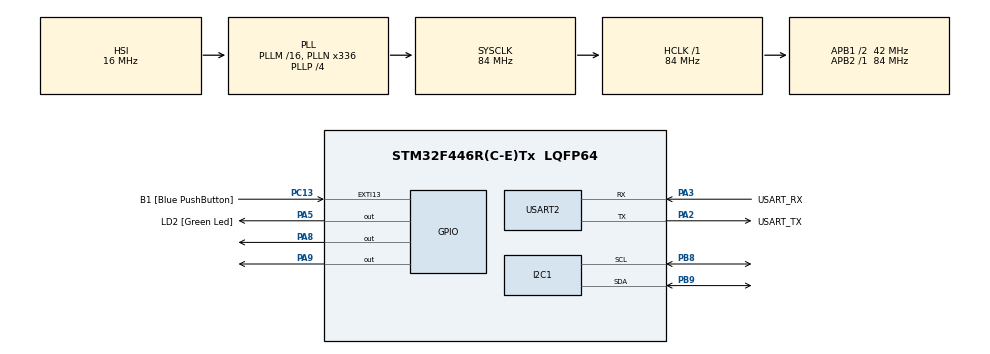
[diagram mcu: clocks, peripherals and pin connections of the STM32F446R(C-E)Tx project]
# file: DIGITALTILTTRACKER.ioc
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Mcu.Family=STM32F4
Mcu.Name=STM32F446R(C-E)Tx
Mcu.Package=LQFP64
NVIC.PriorityGroup=NVIC_PRIORITYGROUP_0
PA13.GPIO_Label=TMS
PA13.Mode=Serial_Wire
PA13.Signal=SYS_JTMS-SWDIO
PA14.GPIO_Label=TCK
PA14.Mode=Serial_Wire
PA14.Signal=SYS_JTCK-SWCLK
PA2.GPIO_Label=USART_TX
PA2.Mode=Asynchronous
PA2.Signal=USART2_TX
PA3.GPIO_Label=USART_RX
PA3.Mode=Asynchronous
PA3.Signal=USART2_RX
PA5.GPIO_Label=LD2 [Green Led]
PA5.Signal=GPIO_Output
PA8.Signal=GPIO_Output
PA9.Signal=GPIO_Output
PB3.GPIO_Label=SWO
PB3.Signal=SYS_JTDO-SWO
PB8.Mode=I2C
PB8.Signal=I2C1_SCL
PB9.Mode=I2C
PB9.Signal=I2C1_SDA
PC13.GPIO_Label=B1 [Blue PushButton]
PC13.GPIO_ModeDefaultEXTI=GPIO_MODE_IT_FALLING
PC13.Signal=GPXTI13
PC14-OSC32_IN.Mode=LSE-External-Oscillator
PC14-OSC32_IN.Signal=RCC_OSC32_IN
PC15-OSC32_OUT.Mode=LSE-External-Oscillator
PC15-OSC32_OUT.Signal=RCC_OSC32_OUT
PH0-OSC_IN.Mode=HSE-External-Oscillator
PH0-OSC_IN.Signal=RCC_OSC_IN
PH1-OSC_OUT.Mode=HSE-External-Oscillator
PH1-OSC_OUT.Signal=RCC_OSC_OUT
ProjectManager.HeapSize=0x200
ProjectManager.StackSize=0x400
ProjectManager.TargetToolchain=STM32CubeIDE
RCC.48MHZClocksFreq_Value=84000000
RCC.AHBFreq_Value=84000000
RCC.APB1CLKDivider=RCC_HCLK_DIV2
RCC.APB1Freq_Value=42000000
RCC.APB1TimFreq_Value=84000000
RCC.APB2Freq_Value=84000000
RCC.APB2TimFreq_Value=84000000
RCC.CortexFreq_Value=84000000
RCC.FLatency-AdvancedSettings=FLASH_LATENCY_2
RCC.HCLKFreq_Value=84000000
RCC.HSE_VALUE=8000000
RCC.HSI_VALUE=16000000
RCC.PLLN=336
RCC.PLLP=RCC_PLLP_DIV4
RCC.SYSCLKFreq_VALUE=84000000
RCC.SYSCLKSource=RCC_SYSCLKSOURCE_PLLCLK
RCC.USBFreq_Value=168000000
RCC.VCOOutputFreq_Value=336000000
USART2.VirtualMode=VM_ASYNC
board=NUCLEO-F446RE

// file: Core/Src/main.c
/* USER CODE BEGIN Header */

/* USER CODE END Header */
#include "main.h"

#include "math.h"
#include "ssd1306.h"
#include "ssd1306_fonts.h"
#include "stdio.h"
/* USER CODE END Includes */

I2C_HandleTypeDef hi2c1;

UART_HandleTypeDef huart2;

/* USER CODE BEGIN PV */
uint8_t buffer[6];
int16_t accel_x, accel_y, accel_z;
float pitch, roll;
char display_text[30];
/* USER CODE END PV */

void SystemClock_Config(void);
static void MX_GPIO_Init(void);
static void MX_I2C1_Init(void);
static void MX_USART2_UART_Init(void);

int main(void)
{

  HAL_Init();

  SystemClock_Config();

  MX_GPIO_Init();
  MX_I2C1_Init();
  MX_USART2_UART_Init();
  /* USER CODE BEGIN 2 */
  ssd1306_Init();
    ssd1306_Fill(Black);
    ssd1306_SetCursor(10, 20);
    ssd1306_WriteString("IT WORKS!", Font_11x18, White);
    ssd1306_UpdateScreen();
    uint8_t power_mgmt_reg = 0x6B;
      uint8_t wake_command = 0x00;
      HAL_I2C_Mem_Write(&hi2c1, (0x68 << 1), power_mgmt_reg, 1, &wake_command, 1, 100);

      uint8_t mpu_data[6];
      int16_t accel_x, accel_y, accel_z;
  /* USER CODE END 2 */

  while (1)
  {

    /* USER CODE BEGIN 3 */

	  HAL_I2C_Mem_Read(&hi2c1, (0x68 << 1), 0x3B, 1, mpu_data, 6, 100);

	      accel_x = (int16_t)(mpu_data[0] << 8 | mpu_data[1]);
	      accel_y = (int16_t)(mpu_data[2] << 8 | mpu_data[3]);
	      accel_z = (int16_t)(mpu_data[4] << 8 | mpu_data[5]);

	      float pitch = atan2(accel_y, sqrt(accel_x * accel_x + accel_z * accel_z)) * 180.0 / 3.14159;
	      float roll = atan2(-accel_x, accel_z) * 180.0 / 3.14159;

	      char data_buf[32];
	      char visual_buf[32];

	      ssd1306_Fill(Black);

	      sprintf(data_buf, "P: %+04d", (int)pitch);
	      ssd1306_SetCursor(20, 0);
	      ssd1306_WriteString(data_buf, Font_11x18, White);

	      sprintf(data_buf, "R: %+04d", (int)roll);
	      ssd1306_SetCursor(20, 22);
	      ssd1306_WriteString(data_buf, Font_11x18, White);

	      if (pitch > 10) {
	          if (roll > 10) sprintf(visual_buf, " UP-RIGHT ");
	          else if (roll < -10) sprintf(visual_buf, " UP-LEFT  ");
	          else sprintf(visual_buf, "    UP    ");
	      } else if (pitch < -10) {
	          if (roll > 10) sprintf(visual_buf, " DWN-RGHT ");
	          else if (roll < -10) sprintf(visual_buf, " DWN-LEFT ");
	          else sprintf(visual_buf, "   DOWN   ");
	      } else {
	          if (roll > 10) sprintf(visual_buf, "  RIGHT   ");
	          else if (roll < -10) sprintf(visual_buf, "   LEFT   ");
	          else sprintf(visual_buf, " - LEVEL -");
	      }

	      ssd1306_SetCursor(9, 45);
	      ssd1306_WriteString(visual_buf, Font_11x18, White);

	      ssd1306_UpdateScreen();
  }
  /* USER CODE END 3 */
}

void SystemClock_Config(void)
{
  RCC_OscInitTypeDef RCC_OscInitStruct = {0};
  RCC_ClkInitTypeDef RCC_ClkInitStruct = {0};

  __HAL_RCC_PWR_CLK_ENABLE();
  __HAL_PWR_VOLTAGESCALING_CONFIG(PWR_REGULATOR_VOLTAGE_SCALE3);

  RCC_OscInitStruct.OscillatorType = RCC_OSCILLATORTYPE_HSI;
  RCC_OscInitStruct.HSIState = RCC_HSI_ON;
  RCC_OscInitStruct.HSICalibrationValue = RCC_HSICALIBRATION_DEFAULT;
  RCC_OscInitStruct.PLL.PLLState = RCC_PLL_ON;
  RCC_OscInitStruct.PLL.PLLSource = RCC_PLLSOURCE_HSI;
  RCC_OscInitStruct.PLL.PLLM = 16;
  RCC_OscInitStruct.PLL.PLLN = 336;
  RCC_OscInitStruct.PLL.PLLP = RCC_PLLP_DIV4;
  RCC_OscInitStruct.PLL.PLLQ = 2;
  RCC_OscInitStruct.PLL.PLLR = 2;
  if (HAL_RCC_OscConfig(&RCC_OscInitStruct) != HAL_OK)
  {
    Error_Handler();
  }

  RCC_ClkInitStruct.ClockType = RCC_CLOCKTYPE_HCLK|RCC_CLOCKTYPE_SYSCLK
                              |RCC_CLOCKTYPE_PCLK1|RCC_CLOCKTYPE_PCLK2;
  RCC_ClkInitStruct.SYSCLKSource = RCC_SYSCLKSOURCE_PLLCLK;
  RCC_ClkInitStruct.AHBCLKDivider = RCC_SYSCLK_DIV1;
  RCC_ClkInitStruct.APB1CLKDivider = RCC_HCLK_DIV2;
  RCC_ClkInitStruct.APB2CLKDivider = RCC_HCLK_DIV1;

  if (HAL_RCC_ClockConfig(&RCC_ClkInitStruct, FLASH_LATENCY_2) != HAL_OK)
  {
    Error_Handler();
  }
}

static void MX_I2C1_Init(void)
{

  hi2c1.Instance = I2C1;
  hi2c1.Init.ClockSpeed = 100000;
  hi2c1.Init.DutyCycle = I2C_DUTYCYCLE_2;
  hi2c1.Init.OwnAddress1 = 0;
  hi2c1.Init.AddressingMode = I2C_ADDRESSINGMODE_7BIT;
  hi2c1.Init.DualAddressMode = I2C_DUALADDRESS_DISABLE;
  hi2c1.Init.OwnAddress2 = 0;
  hi2c1.Init.GeneralCallMode = I2C_GENERALCALL_DISABLE;
  hi2c1.Init.NoStretchMode = I2C_NOSTRETCH_DISABLE;
  if (HAL_I2C_Init(&hi2c1) != HAL_OK)
  {
    Error_Handler();
  }

}

static void MX_USART2_UART_Init(void)
{

  huart2.Instance = USART2;
  huart2.Init.BaudRate = 115200;
  huart2.Init.WordLength = UART_WORDLENGTH_8B;
  huart2.Init.StopBits = UART_STOPBITS_1;
  huart2.Init.Parity = UART_PARITY_NONE;
  huart2.Init.Mode = UART_MODE_TX_RX;
  huart2.Init.HwFlowCtl = UART_HWCONTROL_NONE;
  huart2.Init.OverSampling = UART_OVERSAMPLING_16;
  if (HAL_UART_Init(&huart2) != HAL_OK)
  {
    Error_Handler();
  }

}

static void MX_GPIO_Init(void)
{
  GPIO_InitTypeDef GPIO_InitStruct = {0};

  /* GPIO Ports Clock Enable */
  __HAL_RCC_GPIOC_CLK_ENABLE();
  __HAL_RCC_GPIOH_CLK_ENABLE();
  __HAL_RCC_GPIOA_CLK_ENABLE();
  __HAL_RCC_GPIOB_CLK_ENABLE();

  /*Configure GPIO pin Output Level */
  HAL_GPIO_WritePin(GPIOA, LD2_Pin|GPIO_PIN_8|GPIO_PIN_9, GPIO_PIN_RESET);

  /*Configure GPIO pin : B1_Pin */
  GPIO_InitStruct.Pin = B1_Pin;
  GPIO_InitStruct.Mode = GPIO_MODE_IT_FALLING;
  GPIO_InitStruct.Pull = GPIO_NOPULL;
  HAL_GPIO_Init(B1_GPIO_Port, &GPIO_InitStruct);

  /*Configure GPIO pins : LD2_Pin PA8 PA9 */
  GPIO_InitStruct.Pin = LD2_Pin|GPIO_PIN_8|GPIO_PIN_9;
  GPIO_InitStruct.Mode = GPIO_MODE_OUTPUT_PP;
  GPIO_InitStruct.Pull = GPIO_NOPULL;
  GPIO_InitStruct.Speed = GPIO_SPEED_FREQ_LOW;
  HAL_GPIO_Init(GPIOA, &GPIO_InitStruct);

}

void Error_Handler(void)
{
  __disable_irq();
  while (1)
  {
  }
}
